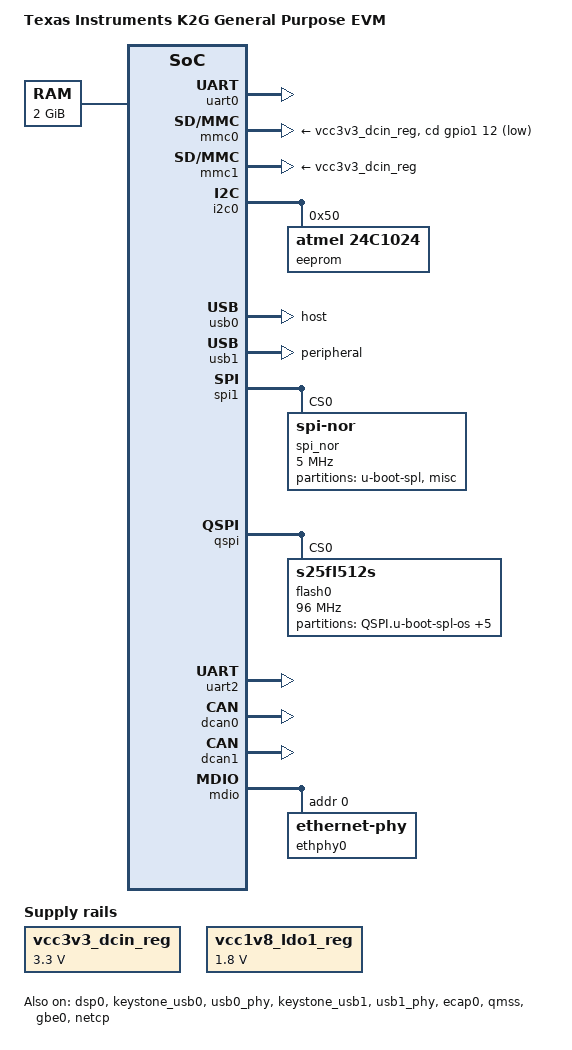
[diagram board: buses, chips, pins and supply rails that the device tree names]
// SPDX-License-Identifier: GPL-2.0
/*
 * Device Tree Source for K2G EVM
 *
 * Copyright (C) 2016-2017 Texas Instruments Incorporated - http://www.ti.com/
 */
/dts-v1/;

#include "keystone-k2g.dtsi"

/ {
	compatible =  "ti,k2g-evm", "ti,k2g", "ti,keystone";
	model = "Texas Instruments K2G General Purpose EVM";

	memory@800000000 {
		device_type = "memory";
		reg = <0x00000008 0x00000000 0x00000000 0x80000000>;
	};

	reserved-memory {
		#address-cells = <2>;
		#size-cells = <2>;
		ranges;

		dsp_common_memory: dsp-common-memory@81f800000 {
			compatible = "shared-dma-pool";
			reg = <0x00000008 0x1f800000 0x00000000 0x800000>;
			reusable;
			status = "okay";
		};
	};

	vcc3v3_dcin_reg: fixedregulator-vcc3v3-dcin {
		compatible = "regulator-fixed";
		regulator-name = "mmc0_fixed";
		regulator-min-microvolt = <3300000>;
		regulator-max-microvolt = <3300000>;
		regulator-always-on;
	};

	vcc1v8_ldo1_reg: fixedregulator-vcc1v8-ldo1 {
		compatible = "regulator-fixed";
		regulator-name = "ldo1";
		regulator-min-microvolt = <1800000>;
		regulator-max-microvolt = <1800000>;
		regulator-always-on;
	};
};

&k2g_pinctrl {
	uart0_pins: pinmux_uart0_pins {
		pinctrl-single,pins = <
			K2G_CORE_IOPAD(0x11cc) (BUFFER_CLASS_B | PULL_DISABLE | MUX_MODE0)	/* uart0_rxd.uart0_rxd */
			K2G_CORE_IOPAD(0x11d0) (BUFFER_CLASS_B | PIN_PULLDOWN | MUX_MODE0)	/* uart0_txd.uart0_txd */
		>;
	};

	mmc0_pins: pinmux_mmc0_pins {
		pinctrl-single,pins = <
			K2G_CORE_IOPAD(0x1300) (BUFFER_CLASS_B | PIN_PULLUP | MUX_MODE2)	/* mmc0_dat3.mmc0_dat3 */
			K2G_CORE_IOPAD(0x1304) (BUFFER_CLASS_B | PIN_PULLUP | MUX_MODE2)	/* mmc0_dat2.mmc0_dat2 */
			K2G_CORE_IOPAD(0x1308) (BUFFER_CLASS_B | PIN_PULLUP | MUX_MODE2)	/* mmc0_dat1.mmc0_dat1 */
			K2G_CORE_IOPAD(0x130c) (BUFFER_CLASS_B | PIN_PULLUP | MUX_MODE2)	/* mmc0_dat0.mmc0_dat0 */
			K2G_CORE_IOPAD(0x1310) (BUFFER_CLASS_B | PIN_PULLUP | MUX_MODE2)	/* mmc0_clk.mmc0_clk */
			K2G_CORE_IOPAD(0x1314) (BUFFER_CLASS_B | PIN_PULLUP | MUX_MODE2)	/* mmc0_cmd.mmc0_cmd */
			K2G_CORE_IOPAD(0x12ec) (BUFFER_CLASS_B | PIN_PULLUP | MUX_MODE3)	/* mmc0_sdcd.gpio1_12 */
		>;
	};

	mmc1_pins: pinmux_mmc1_pins {
		pinctrl-single,pins = <
			K2G_CORE_IOPAD(0x10ec) (BUFFER_CLASS_B | PIN_PULLUP | MUX_MODE0)	/* mmc1_dat7.mmc1_dat7 */
			K2G_CORE_IOPAD(0x10f0) (BUFFER_CLASS_B | PIN_PULLUP | MUX_MODE0)	/* mmc1_dat6.mmc1_dat6 */
			K2G_CORE_IOPAD(0x10f4) (BUFFER_CLASS_B | PIN_PULLUP | MUX_MODE0)	/* mmc1_dat5.mmc1_dat5 */
			K2G_CORE_IOPAD(0x10f8) (BUFFER_CLASS_B | PIN_PULLUP | MUX_MODE0)	/* mmc1_dat4.mmc1_dat4 */
			K2G_CORE_IOPAD(0x10fc) (BUFFER_CLASS_B | PIN_PULLUP | MUX_MODE0)	/* mmc1_dat3.mmc1_dat3 */
			K2G_CORE_IOPAD(0x1100) (BUFFER_CLASS_B | PIN_PULLUP | MUX_MODE0)	/* mmc1_dat2.mmc1_dat2 */
			K2G_CORE_IOPAD(0x1104) (BUFFER_CLASS_B | PIN_PULLUP | MUX_MODE0)	/* mmc1_dat1.mmc1_dat1 */
			K2G_CORE_IOPAD(0x1108) (BUFFER_CLASS_B | PIN_PULLUP | MUX_MODE0)	/* mmc1_dat0.mmc1_dat0 */
			K2G_CORE_IOPAD(0x110c) (BUFFER_CLASS_B | PIN_PULLUP | MUX_MODE0)	/* mmc1_clk.mmc1_clk */
			K2G_CORE_IOPAD(0x1110) (BUFFER_CLASS_B | PIN_PULLUP | MUX_MODE0)	/* mmc1_cmd.mmc1_cmd */
		>;
	};

	i2c0_pins: pinmux_i2c0_pins {
		pinctrl-single,pins = <
			K2G_CORE_IOPAD(0x137c) (BUFFER_CLASS_B | PIN_PULLUP | MUX_MODE0)	/* i2c0_scl.i2c0_scl */
			K2G_CORE_IOPAD(0x1380) (BUFFER_CLASS_B | PIN_PULLUP | MUX_MODE0)	/* i2c0_sda.i2c0_sda */
		>;
	};

	ecap0_pins: ecap0_pins {
		pinctrl-single,pins = <
			K2G_CORE_IOPAD(0x1374) (BUFFER_CLASS_B | MUX_MODE4)	/* pr1_mdio_data.ecap0_in_apwm0_out */
		>;
	};

	spi1_pins: pinmux_spi1_pins {
		pinctrl-single,pins = <
			K2G_CORE_IOPAD(0x11a4) (BUFFER_CLASS_B | PULL_DISABLE | MUX_MODE0)	/* spi1_scs0.spi1_scs0 */
			K2G_CORE_IOPAD(0x11ac) (BUFFER_CLASS_B | PULL_DISABLE | MUX_MODE0)	/* spi1_clk.spi1_clk */
			K2G_CORE_IOPAD(0x11b0) (BUFFER_CLASS_B | PULL_DISABLE | MUX_MODE0)	/* spi1_miso.spi1_miso */
			K2G_CORE_IOPAD(0x11b4) (BUFFER_CLASS_B | PULL_DISABLE | MUX_MODE0)	/* spi1_mosi.spi1_mosi */
		>;
	};

	qspi_pins: pinmux_qspi_pins {
		pinctrl-single,pins = <
			K2G_CORE_IOPAD(0x1204) (BUFFER_CLASS_B | PULL_DISABLE | MUX_MODE0) /* qspi_clk.qspi_clk */
			K2G_CORE_IOPAD(0x1208) (BUFFER_CLASS_B | PULL_DISABLE | MUX_MODE0) /* qspi_rclk.qspi_rclk */
			K2G_CORE_IOPAD(0x120c) (BUFFER_CLASS_B | PULL_DISABLE | MUX_MODE0) /* qspi_d0.qspi_d0 */
			K2G_CORE_IOPAD(0x1210) (BUFFER_CLASS_B | PULL_DISABLE | MUX_MODE0) /* qspi_d1.qspi_d1 */
			K2G_CORE_IOPAD(0x1214) (BUFFER_CLASS_B | PULL_DISABLE | MUX_MODE0) /* qspi_d2.qspi_d2 */
			K2G_CORE_IOPAD(0x1218) (BUFFER_CLASS_B | PULL_DISABLE | MUX_MODE0) /* qspi_d3.qspi_d3 */
			K2G_CORE_IOPAD(0x121c) (BUFFER_CLASS_B | PULL_DISABLE | MUX_MODE0) /* qspi_csn0.qspi_csn0 */
		>;
	};

	uart2_pins: pinmux_uart2_pins {
		pinctrl-single,pins = <
			K2G_CORE_IOPAD(0x11ec) (BUFFER_CLASS_B | PULL_DISABLE | MUX_MODE0)      /* uart2_rxd.uart2_rxd */
			K2G_CORE_IOPAD(0x11f0) (BUFFER_CLASS_B | PIN_PULLDOWN | MUX_MODE0)      /* uart2_txd.uart2_txd */
		>;
	};

	dcan0_pins: pinmux_dcan0_pins {
		pinctrl-single,pins = <
			K2G_CORE_IOPAD(0x11fc) (BUFFER_CLASS_B | PULL_DISABLE  | MUX_MODE0)	/* dcan0tx.dcan0tx */
			K2G_CORE_IOPAD(0x1200) (BUFFER_CLASS_B | PIN_PULLDOWN  | MUX_MODE0)	/* dcan0rx.dcan0rx */
		>;
	};

	dcan1_pins: pinmux_dcan1_pins {
		pinctrl-single,pins = <
			K2G_CORE_IOPAD(0x1224) (BUFFER_CLASS_B | PULL_DISABLE  | MUX_MODE1)	/* qspicsn2.dcan1tx */
			K2G_CORE_IOPAD(0x1228) (BUFFER_CLASS_B | PIN_PULLDOWN  | MUX_MODE1)	/* qspicsn3.dcan1rx */
		>;
	};

	emac_pins: pinmux_emac_pins {
		pinctrl-single,pins = <
			K2G_CORE_IOPAD(0x113C) (BUFFER_CLASS_D | PULL_DISABLE | MUX_MODE1)	/* MII_RXD1.RGMII_RXD1 */
			K2G_CORE_IOPAD(0x1138) (BUFFER_CLASS_D | PULL_DISABLE | MUX_MODE1)	/* MII_RXD2.RGMII_RXD2 */
			K2G_CORE_IOPAD(0x1134) (BUFFER_CLASS_D | PULL_DISABLE | MUX_MODE1)	/* MII_RXD3.RGMII_RXD3 */
			K2G_CORE_IOPAD(0x1140) (BUFFER_CLASS_D | PULL_DISABLE | MUX_MODE1)	/* MII_RXD0.RGMII_RXD0 */
			K2G_CORE_IOPAD(0x1178) (BUFFER_CLASS_D | PULL_DISABLE | MUX_MODE1)	/* MII_TXD0.RGMII_TXD0 */
			K2G_CORE_IOPAD(0x1174) (BUFFER_CLASS_D | PULL_DISABLE | MUX_MODE1)	/* MII_TXD1.RGMII_TXD1 */
			K2G_CORE_IOPAD(0x1170) (BUFFER_CLASS_D | PULL_DISABLE | MUX_MODE1)	/* MII_TXD2.RGMII_TXD2 */
			K2G_CORE_IOPAD(0x116C) (BUFFER_CLASS_D | PULL_DISABLE | MUX_MODE1)	/* MII_TXD3.RGMII_TXD3 */
			K2G_CORE_IOPAD(0x1154) (BUFFER_CLASS_D | PULL_DISABLE | MUX_MODE1)	/* MII_TXCLK.RGMII_TXC */
			K2G_CORE_IOPAD(0x117C) (BUFFER_CLASS_D | PULL_DISABLE | MUX_MODE1)	/* MII_TXEN.RGMII_TXCTL */
			K2G_CORE_IOPAD(0x1120) (BUFFER_CLASS_D | PULL_DISABLE | MUX_MODE1)	/* MII_RXCLK.RGMII_RXC */
			K2G_CORE_IOPAD(0x1144) (BUFFER_CLASS_D | PULL_DISABLE | MUX_MODE1)	/* MII_RXDV.RGMII_RXCTL */
		>;
	};

	mdio_pins: pinmux_mdio_pins {
		pinctrl-single,pins = <
			K2G_CORE_IOPAD(0x118C) (BUFFER_CLASS_B | PULL_DISABLE | MUX_MODE0)	/* MDIO_CLK.MDIO_CLK */
			K2G_CORE_IOPAD(0x1188) (BUFFER_CLASS_B | PULL_DISABLE | MUX_MODE0)	/* MDIO_DATA.MDIO_DATA */
		>;
	};
};

&uart0 {
	pinctrl-names = "default";
	pinctrl-0 = <&uart0_pins>;
	status = "okay";
};

&gpio1 {
	status = "okay";
};

&mmc0 {
	pinctrl-names = "default";
	pinctrl-0 = <&mmc0_pins>;
	vmmc-supply = <&vcc3v3_dcin_reg>;
	vqmmc-supply = <&vcc3v3_dcin_reg>;
	cd-gpios = <&gpio1 12 GPIO_ACTIVE_LOW>;
	status = "okay";
};

&mmc1 {
	pinctrl-names = "default";
	pinctrl-0 = <&mmc1_pins>;
	vmmc-supply = <&vcc3v3_dcin_reg>; /* VCC3V3_EMMC is connected to VCC3V3_DCIN */
	vqmmc-supply = <&vcc1v8_ldo1_reg>;
	ti,non-removable;
	status = "okay";
};

&dsp0 {
	memory-region = <&dsp_common_memory>;
	status = "okay";
};

&i2c0 {
	pinctrl-names = "default";
	pinctrl-0 = <&i2c0_pins>;
	status = "okay";

	eeprom@50 {
		compatible = "atmel,24c1024";
		reg = <0x50>;
	};
};

&keystone_usb0 {
	status = "okay";
};

&usb0_phy {
	status = "okay";
};

&usb0 {
	dr_mode = "host";
	status = "okay";
};

&keystone_usb1 {
	status = "okay";
};

&usb1_phy {
	status = "okay";
};

&usb1 {
	dr_mode = "peripheral";
	status = "okay";
};

&ecap0 {
	status = "okay";
	pinctrl-names = "default";
	pinctrl-0 = <&ecap0_pins>;
};

&spi1 {
	pinctrl-names = "default";
	pinctrl-0 = <&spi1_pins>;
	status = "okay";

	spi_nor: flash@0 {
		#address-cells = <1>;
		#size-cells = <1>;
		compatible = "jedec,spi-nor";
		spi-max-frequency = <5000000>;
		m25p,fast-read;
		reg = <0>;

		partition@0 {
			label = "u-boot-spl";
			reg = <0x0 0x100000>;
			read-only;
		};

		partition@1 {
			label = "misc";
			reg = <0x100000 0xf00000>;
		};
	};
};

&qspi {
	status = "okay";
	pinctrl-names = "default";
	pinctrl-0 = <&qspi_pins>;
	cdns,rclk-en;

	flash0: m25p80@0 {
		compatible = "s25fl512s", "jedec,spi-nor";
		reg = <0>;
		spi-tx-bus-width = <1>;
		spi-rx-bus-width = <4>;
		spi-max-frequency = <96000000>;
		#address-cells = <1>;
		#size-cells = <1>;
		cdns,read-delay = <5>;
		cdns,tshsl-ns = <500>;
		cdns,tsd2d-ns = <500>;
		cdns,tchsh-ns = <119>;
		cdns,tslch-ns = <119>;

		partition@0 {
			label = "QSPI.u-boot-spl-os";
			reg = <0x00000000 0x00100000>;
		};
		partition@1 {
			label = "QSPI.u-boot-env";
			reg = <0x00100000 0x00040000>;
		};
		partition@2 {
			label = "QSPI.skern";
			reg = <0x00140000 0x0040000>;
		};
		partition@3 {
			label = "QSPI.pmmc-firmware";
			reg = <0x00180000 0x0040000>;
		};
		partition@4 {
			label = "QSPI.kernel";
			reg = <0x001C0000 0x0800000>;
		};
		partition@5 {
			label = "QSPI.file-system";
			reg = <0x009C0000 0x3640000>;
		};
	};
};

&uart2 {
	pinctrl-names = "default";
	pinctrl-0 = <&uart2_pins>;
	status = "okay";
};

&dcan0 {
	pinctrl-names = "default";
	pinctrl-0 = <&dcan0_pins>;
	status = "okay";
};

&dcan1 {
	pinctrl-names = "default";
	pinctrl-0 = <&dcan1_pins>;
	status = "okay";
};

&qmss {
	status = "okay";
};

&knav_dmas {
	status = "okay";
};

&mdio {
	pinctrl-names = "default";
	pinctrl-0 = <&mdio_pins>;
	status = "okay";
	ethphy0: ethernet-phy@0 {
		reg = <0>;
	};
};

&gbe0 {
	phy-handle = <&ethphy0>;
	phy-mode = "rgmii-id";
	status = "okay";
};

&netcp {
	pinctrl-names = "default";
	pinctrl-0 = <&emac_pins>;
	status = "okay";
};
